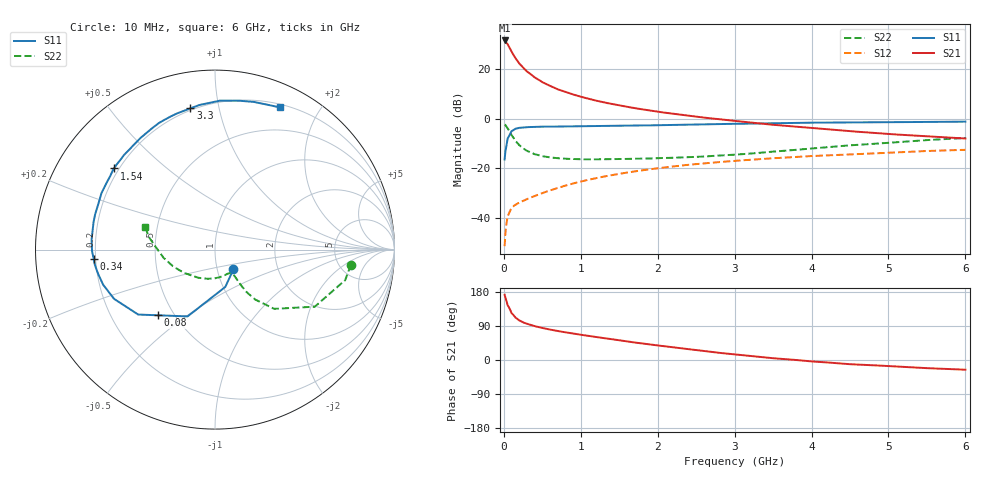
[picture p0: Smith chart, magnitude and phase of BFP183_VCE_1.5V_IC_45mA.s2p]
! Infineon Technologies  Discrete & RF Semiconductors
! BFP183
! VCE = 1.5 V,  IC =  45 mA
! Common Emitter S-Parameters:  Jan 2016
# GHz  S  MA  R  50
!  f  S11  S21  S12  S22
! GHz  MAG  ANG  MAG  ANG  MAG  ANG  MAG  ANG
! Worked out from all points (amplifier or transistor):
!   210 points, 10 MHz to 6 GHz, reference 50 ohm
!   highest |S21| = 31.5 dB at 10 MHz (marker M1)
!   |S21| within 3 dB of that: start of sweep to 74.27 MHz
!   unconditionally stable (mu >= 1): start of sweep to 26.96 MHz; 225.7 MHz to end of sweep
!   at 185 MHz: K = 0.89, MSG = 28.5 dB, |S12| = -34.1 dB
!   at 1.52 GHz: K = 1.63, MAG = 9.0 dB, |S12| = -22.1 dB
!   at 6 GHz: K = 1.30, MAG = -1.0 dB, |S12| = -12.6 dB
!   S11 on the Smith chart (normalised r, x): 10 MHz: 1.20, -0.27; 80 MHz: 0.41, -0.39; 340 MHz: 0.19, -0.04; 1.54 GHz: 0.18, +0.34; 3.3 GHz: 0.19, +0.82; 6 GHz: 0.23, +1.53
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0.01  0.1506 -47.1  37.62 172.1  0.0027 70.0  0.7616 -6.4
0.02  0.2159 -74.6  36.75 164.5  0.0048 73.7  0.745 -13.2
0.05  0.4022 -112.3  31.54 144.2  0.0108 63.0  0.6404 -29.8
0.08  0.4848 -131.0  25.57 133.6  0.0138 52.7  0.5315 -37.7
0.1  0.5606 -139.8  22.29 123.6  0.0159 48.0  0.4667 -45.0
0.15  0.6258 -154.0  16.57 111.8  0.0185 45.0  0.3582 -51.1
0.2  0.6533 -162.6  12.96 104.4  0.0203 46.1  0.2931 -53.4
0.24  0.6626 -167.3  11.07 100.4  0.0217 46.3  0.2609 -53.8
0.3  0.6747 -172.8  8.929 95.4  0.024 48.7  0.2251 -53.9
0.34  0.6778 -175.5  8.061 93.3  0.0255 50.4  0.2121 -53.8
0.4  0.6852 -179.4  6.785 89.1  0.0277 52.5  0.1926 -53.5
0.5  0.6898 175.4  5.438 84.4  0.0317 54.4  0.1752 -53.6
0.6  0.6908 170.8  4.583 80.2  0.0359 56.9  0.1657 -54.0
0.8  0.6961 163.6  3.446 72.9  0.0448 59.0  0.1558 -56.4
1.02  0.7018 156.1  2.714 66.0  0.0549 59.5  0.1518 -60.9
1.54  0.7215 141.2  1.803 50.7  0.0792 57.5  0.1538 -74.9
2.02  0.7379 128.1  1.365 37.9  0.101 53.1  0.1605 -90.8
3.1  0.7906 103.6  0.87 13.0  0.1447 42.2  0.1925 -130.7
3.3  0.7987 99.9  0.81 9.1  0.1519 40.0  0.2034 -137.5
4.1  0.8313 86.6  0.629 -5.0  0.1792 31.7  0.2585 -161.1
5.1  0.8519 74.2  0.48 -17.0  0.2087 22.6  0.3343 176.6
6  0.8709 65.4  0.398 -25.6  0.2357 13.1  0.4092 162.3
